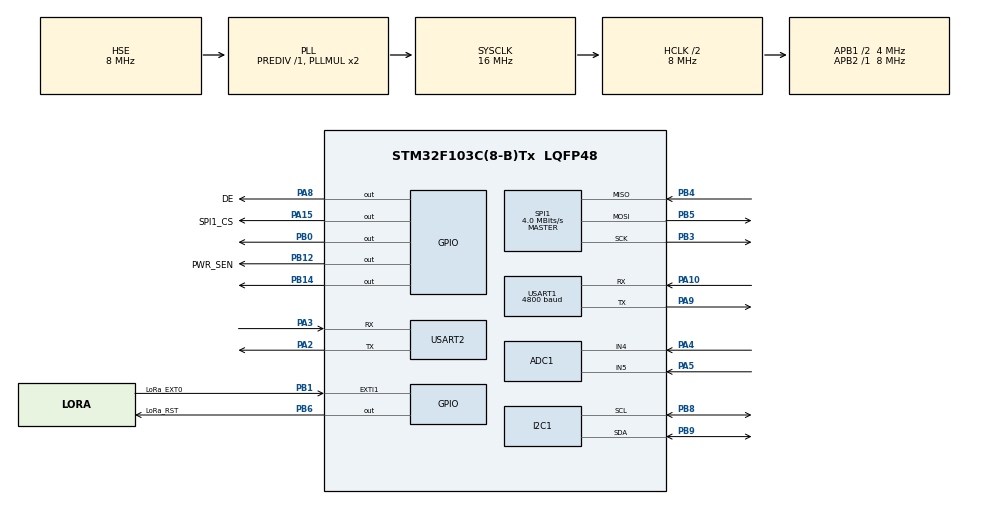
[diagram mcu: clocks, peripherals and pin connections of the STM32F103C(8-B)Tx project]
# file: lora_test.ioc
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ADC1.Channel-0\#ChannelRegularConversion=ADC_CHANNEL_4
ADC1.Channel-1\#ChannelRegularConversion=ADC_CHANNEL_5
ADC1.ContinuousConvMode=ENABLE
ADC1.NbrOfConversion=2
ADC1.NbrOfConversionFlag=1
ADC1.Rank-0\#ChannelRegularConversion=1
ADC1.Rank-1\#ChannelRegularConversion=2
ADC1.SamplingTime-0\#ChannelRegularConversion=ADC_SAMPLETIME_239CYCLES_5
ADC1.SamplingTime-1\#ChannelRegularConversion=ADC_SAMPLETIME_239CYCLES_5
ADC1.master=1
Dma.ADC1.0.Direction=DMA_PERIPH_TO_MEMORY
Dma.ADC1.0.Instance=DMA1_Channel1
Dma.ADC1.0.MemDataAlignment=DMA_MDATAALIGN_HALFWORD
Dma.ADC1.0.MemInc=DMA_MINC_ENABLE
Dma.ADC1.0.Mode=DMA_CIRCULAR
Dma.ADC1.0.PeriphDataAlignment=DMA_PDATAALIGN_HALFWORD
Dma.ADC1.0.PeriphInc=DMA_PINC_DISABLE
Dma.ADC1.0.Priority=DMA_PRIORITY_LOW
Dma.Request0=ADC1
Mcu.Family=STM32F1
Mcu.Name=STM32F103C(8-B)Tx
Mcu.Package=LQFP48
NVIC.DMA1_Channel1_IRQn=true\:0\:0\:false\:false\:true\:false\:true\:true
NVIC.EXTI1_IRQn=true\:0\:0\:false\:false\:true\:true\:true\:true
NVIC.PriorityGroup=NVIC_PRIORITYGROUP_4
NVIC.RTC_IRQn=true\:0\:0\:false\:false\:true\:true\:true\:true
NVIC.USART1_IRQn=true\:0\:0\:false\:false\:true\:true\:true\:true
PA0-WKUP.Mode=SYS_WakeUp0
PA0-WKUP.Signal=SYS_WKUP
PA10.Mode=Asynchronous
PA10.Signal=USART1_RX
PA13.Mode=Serial_Wire
PA13.Signal=SYS_JTMS-SWDIO
PA14.Mode=Serial_Wire
PA14.Signal=SYS_JTCK-SWCLK
PA15.GPIO_Label=SPI1_CS
PA15.GPIO_PuPd=GPIO_PULLUP
PA15.GPIO_Speed=GPIO_SPEED_FREQ_HIGH
PA15.Signal=GPIO_Output
PA2.Mode=Asynchronous
PA2.Signal=USART2_TX
PA3.Mode=Asynchronous
PA3.Signal=USART2_RX
PA4.Signal=ADCx_IN4
PA5.Signal=ADCx_IN5
PA8.GPIO_Label=DE
PA8.Signal=GPIO_Output
PA9.Mode=Asynchronous
PA9.Signal=USART1_TX
PB0.Signal=GPIO_Output
PB1.GPIO_Label=LoRa_EXT0
PB1.GPIO_ModeDefaultEXTI=GPIO_MODE_IT_RISING
PB1.GPIO_PuPd=GPIO_PULLDOWN
PB1.Signal=GPXTI1
PB12.GPIO_Label=PWR_SEN
PB12.Signal=GPIO_Output
PB14.Signal=GPIO_Output
PB3.Mode=Full_Duplex_Master
PB3.Signal=SPI1_SCK
PB4.Mode=Full_Duplex_Master
PB4.Signal=SPI1_MISO
PB5.Mode=Full_Duplex_Master
PB5.Signal=SPI1_MOSI
PB6.GPIO_Label=LoRa_RST
PB6.GPIO_PuPd=GPIO_PULLDOWN
PB6.Signal=GPIO_Output
PB8.Mode=I2C
PB8.Signal=I2C1_SCL
PB9.Mode=I2C
PB9.Signal=I2C1_SDA
PD0-OSC_IN.Mode=HSE-External-Oscillator
PD0-OSC_IN.Signal=RCC_OSC_IN
PD1-OSC_OUT.Mode=HSE-External-Oscillator
PD1-OSC_OUT.Signal=RCC_OSC_OUT
ProjectManager.HeapSize=0x200
ProjectManager.StackSize=0x400
ProjectManager.TargetToolchain=MDK-ARM V5.32
RCC.AHBCLKDivider=RCC_SYSCLK_DIV2
RCC.AHBFreq_Value=8000000
RCC.APB1CLKDivider=RCC_HCLK_DIV2
RCC.APB1Freq_Value=4000000
RCC.APB1TimFreq_Value=8000000
RCC.APB2Freq_Value=8000000
RCC.APB2TimFreq_Value=8000000
RCC.HCLKFreq_Value=8000000
RCC.PLLSourceVirtual=RCC_PLLSOURCE_HSE
RCC.SYSCLKFreq_VALUE=16000000
RCC.SYSCLKSource=RCC_SYSCLKSOURCE_PLLCLK
RCC.USBFreq_Value=16000000
SH.ADCx_IN4.0=ADC1_IN4,IN4
SH.ADCx_IN5.0=ADC1_IN5,IN5
SPI1.BaudRatePrescaler=SPI_BAUDRATEPRESCALER_2
SPI1.CalculateBaudRate=4.0 MBits/s
SPI1.Direction=SPI_DIRECTION_2LINES
SPI1.Mode=SPI_MODE_MASTER
SPI1.VirtualType=VM_MASTER
USART1.BaudRate=4800
USART1.VirtualMode=VM_ASYNC
USART2.VirtualMode=VM_ASYNC
VP_RTC_No_RTC_Output.Mode=RTC_OUT_NO
VP_RTC_VS_RTC_Activate.Mode=RTC_Enabled
VP_RTC_VS_RTC_Calendar.Mode=RTC_Calendar
board=custom

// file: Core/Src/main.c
/* USER CODE BEGIN Header */
/**
  ******************************************************************************
  * @file           : main.c
  * @brief          : Main program body
  ******************************************************************************
  * @attention
  *
  * Copyright (c) 2024 STMicroelectronics.
  * All rights reserved.
  *
  * This software is licensed under terms that can be found in the LICENSE file
  * in the root directory of this software component.
  * If no LICENSE file comes with this software, it is provided AS-IS.
  *
  ******************************************************************************
  */
/* USER CODE END Header */
#include "main.h"
#include "adc.h"
#include "dma.h"
#include "i2c.h"
#include "rtc.h"
#include "spi.h"
#include "usart.h"
#include "gpio.h"

/* USER CODE BEGIN Includes */
#include "stdio.h"
#include "stdbool.h"
#include "stdlib.h"
#include "common.h"
#include "sx1278.h"
#include "string.h"
#include "modbus_crc.h"
#include "flash.h"
#include "aht20.h"

/* USER CODE END Includes */

/* USER CODE BEGIN PTD */
int __io_putchar (int ch)
{
   HAL_UART_Transmit(&huart2, (uint8_t *)&ch, 1, 100);
   return ch;
}

typedef struct LoRa_Link_Struct
{
  uint16_t Node_ID;
  uint16_t Node_Status;
  uint16_t Node_Battery_Voltage;
  uint16_t Node_Period;
} Link_Struct_t;

typedef struct LoRa_Data_Struct
{
  Link_Struct_t Link;
  uint16_t Node_LM35_Temperature;
  uint16_t Node_AHT_Temperature;
  uint16_t Node_AHT_Humidity;
  uint16_t Node_wind_speed;
  uint16_t Node_wind_direction;
  uint16_t Node_wind_level;
  // uint16_t Node_Soil_Temperature;
  // uint16_t Node_Air_Temperature;
  // uint16_t Node_Soil_Humidity;
  // uint16_t Node_Air_Humidity;
  // uint16_t Node_Salinity;
  // uint16_t Node_Conductivity;
  // uint16_t Node_pH;
  // uint16_t Node_N;
  // uint16_t Node_P;
  // uint16_t Node_K;
} Data_Struct_t;

typedef struct LoRa_Packet_ID_0
{
  uint16_t Packet_ID;
  Link_Struct_t Payload;
} Link_Packet_t;

typedef struct LoRa_Packet_ID_1
{
  uint16_t Packet_ID;
  Data_Struct_t Payload;
} Data_Packet_t;

typedef struct LoRa_Packet_ID_2
{
  uint16_t Packet_ID;
  uint16_t Target_Node_ID;

  uint16_t Target_Node_Status;
  uint16_t Target_Node_Period;
  uint16_t Target_Node_Response;
} ResponsePacket_t;

typedef struct WindData
{
  uint16_t rawTemperature;
  float Temperature;

  uint16_t RawSpeed;
	float Speed;
  uint16_t Direction;

  uint16_t windLevel;
} WindData_t;

typedef struct DHT22
{
  float Temperature;
  float Humidity;
  float Fahrenheit;
} DHT22_t;

typedef struct AHT20
{
  float Temperature;
  float Humidity;
  // uint8_t AHT20_RX_Data[6];
  // uint32_t AHT20_ADC_Raw;
} AHT20_t;

typedef enum NodeStatus
{
  WAKEUP_MODE = 1U,
  LINK_MODE = 2U,
  NORMAL_MODE = 4U,
  RECONNECT_MODE = 8U,
  SHUTDOWN_MODE = 16U
} NodeStatus_t;

/* USER CODE END PTD */

/* USER CODE BEGIN PD */

// #define NODE_ID     (0xBAAEU)
// #define NODE_ID     (0xBAADU)
// #define NODE_ID     (0xBAACU)
#define NODE_ID     (0xBAABU)

#define TIMEOUT_MS                  (50U)
#define LINK_PACKET_ID              (0xBBBBU)
#define DATA_PACKET_ID              (0x4A4AU)
#define RESPONSE_PACKET_ID          (0x4444U)

#define SLEEPTIME_NORMAL_MODE_MIN   (5U)
#define SLEEPTIME_NORMAL_MODE_SEC   (300U)
#define SLEEPTIME_LINK_MODE_MIN     (1U)
#define SLEEPTIME_RETRY_MODE_SEC    (15U)

#define READ_SENSORS_DURATION_MS    (4500U)

#define WAIT_RESPONSE_DURATION_MS   (2000U)

#define NODE_WAKEUP_BIT_SHIFT       (0U)
#define NODE_WAKEUP_BIT             (1U << NODE_WAKEUP_BIT_SHIFT)
#define NODE_LINK_MODE_BIT_SHIFT    (1U)
#define NODE_LINK_MODE_BIT          (1U << NODE_LINK_MODE_BIT_SHIFT)
#define NODE_NORMAL_MODE_BIT_SHIFT  (2U)
#define NODE_NORMAL_MODE_BIT        (1U << NODE_NORMAL_MODE_BIT_SHIFT)
#define NODE_RETRY_MODE_BIT_SHIFT   (3U)
#define NODE_RETRY_MODE_BIT         (1U << NODE_RETRY_MODE_BIT_SHIFT)

#define NODE_SHUTDOWN_MODE_BIT_SHIFT   (4U)
#define NODE_SHUTDOWN_MODE_BIT         (1U << NODE_RETRY_MODE_BIT_SHIFT)

#define LINK_ACCEPT   (0xAAU)
#define LINK_REJECT   (0x55U)

#define LINK_CARRYON  (0x00U)
#define LINK_DISMISS  (0xFFU)

#define LINK_ACK      (0xABU)
#define LINK_NACK     (0xBAU)

#define AHT10_ADDRESS_1 (0x38 << 1) // 0b1110000; Adress[7-bit]Wite/Read[1-bit]
#define AHT10_ADDRESS_2 (0x39 << 1) // 0b1110000; Adress[7-bit]Wite/Read[1-bit]

#define SAVE_ADDR     (0x08013030U)

#define SPEED_ADDRESS 		0x01
#define DIRECTION_ADDRESS 0x02

#define DHT22_PORT GPIOB
#define DHT22_PIN GPIO_PIN_8

/* USER CODE END PD */

void SystemClock_Config(void);
/* USER CODE BEGIN PFP */

void read_ADC(void);
void read_wind_sensor(void);
void read_DHT22(void);
void read_AHT20(void);

void going_standby(void);

void Link_Mode_Handle(void);
void Normal_Mode_Handle(void);
void Reconnect_Mode_Handle(void);

void Response_Handle(void);
/* USER CODE END PFP */

/* USER CODE BEGIN 0 */
uint16_t bat = 0, temp35 = 0, test_bat;
double test_bat_f, test_lm;
uint16_t adc[2];

static WindData_t myWind;
static DHT22_t myDHT;
static AHT20_t myAHT;

static NodeStatus_t myStatus;
static uint32_t backupStorage = 0U;
static uint8_t payload[100] = {0};
static volatile bool is_LoRa_EXTI = false;
static volatile bool is_All_Power_OFF = true;
static uint8_t array2store[32] = {0};
static volatile uint8_t nTry = 0;

uint8_t tx[50];
uint8_t uart1_tx_data[8];
uint8_t uart1_tx_set_add[8];
uint8_t uart1_rx_data[15];
uint16_t recv_data[2];
uint8_t a[20];
uint16_t test_speed, test_level, test_di, test_dih;
float test_s;

uint8_t hum1, hum2, tempC1, tempC2, SUM, CHECK;
uint32_t pMillis, cMillis;
float temp_Celsius = 0;
float temp_Fahrenheit = 0;
float humidity = 0;
uint8_t hum_integral, hum_decimal, tempC_integral, tempC_decimal, tempF_integral, tempF_decimal;
char string[15];
uint8_t ver1;
float t, h;

void modbus_tx_data(uint8_t address)
{
	uart1_tx_data[0] = address; // slave address
	uart1_tx_data[1] = 0x03; // Function code for Read Input Registers (0x03)

	// where we want to start reading
	// The Register address will be 00000000 00000000 (40001)
	uart1_tx_data[2] = 0x00;
	uart1_tx_data[3] = 0x00;

	// this 2 byte indicate how many 16-bit register we want to read.
	// we will read 2, 16-bit data register from_
	// 00000000 00000000 to 00000000 00000001 (from 40001 to 40002 according to salve datasheet)
	uart1_tx_data[4] = 0x00;
	uart1_tx_data[5] = 0x02; //Sensor wind speed is 0x01, direction is 0x02

	// CRC Check function
	uint16_t crc = crc16(uart1_tx_data, 6);
	uart1_tx_data[6] = crc & 0xFF; //CRC LOW
	uart1_tx_data[7] = (crc >> 8) & 0xFF; //CRC HIGH

	// set DE,RE pin HIGH to set max485 as transmitter mode
	HAL_GPIO_WritePin(GPIOA, GPIO_PIN_8, GPIO_PIN_SET);
	// sending the uart1_tx_data array
	HAL_UART_Transmit(&huart1, uart1_tx_data, 8, 1000);
	// set DE,RE pin LOW to set max485 as receiver mode
	HAL_GPIO_WritePin(GPIOA, GPIO_PIN_8, GPIO_PIN_RESET);
}
/*
void modbus_tx_data_direction(){
	uart1_tx_data[0] = 0x02; // slave address
	uart1_tx_data[1] = 0x03; // Function code for Read Input Registers (0x03)

	// this 2 byte indicate the first 16-bit register.
	// where we want to start reading
	//The Register address will be 00000000 00000000 (40001)
	uart1_tx_data[2] = 0x00;
	uart1_tx_data[3] = 0x00;

	// this 2 byte indicate how many 16-bit register we want to read.
	// we will read 2, 16-bit data register from_
	// 00000000 00000000 to 00000000 00000001 (from 40001 to 40002 according to salve datasheet)
	uart1_tx_data[4] = 0x00;
	uart1_tx_data[5] = 0x02; //Sensor wind speed is 0x01, direction is 0x02

	// CRC Check function
	uint16_t crc = crc16(uart1_tx_data, 6);
	uart1_tx_data[6] = crc & 0xFF; //CRC LOW
	uart1_tx_data[7] = (crc >> 8) & 0xFF; //CRC HIGH

	// set DE,RE pin HIGH to set max485 as transmitter mode
	HAL_GPIO_WritePin(GPIOA, GPIO_PIN_8, GPIO_PIN_SET);
	// sending the uart1_tx_data array
	HAL_UART_Transmit(&huart1, uart1_tx_data, 8, 1000);
	// set DE,RE pin LOW to set max485 as receiver mode
	HAL_GPIO_WritePin(GPIOA, GPIO_PIN_8, GPIO_PIN_RESET);
}
*/
void modbus_tx_set_address()
{
	uart1_tx_set_add[0] = 0x01; // dia chi hien tai cua wind sensor
	uart1_tx_set_add[1] = 0x06; // Function code for set address Registers (0x03)

	// this 2 byte indicate the first 16-bit register.
	//We want set add, register add will be 07D0
	uart1_tx_set_add[2] = 0x07;
	uart1_tx_set_add[3] = 0xD0;

	// this 2 byte indicate how many 16-bit register we want to read.
	uart1_tx_set_add[4] = 0x00;
	uart1_tx_set_add[5] = 0x02;// set add = 0x02

	// CRC Check function
	uint16_t crc = crc16(uart1_tx_set_add, 6);
	uart1_tx_set_add[6] = crc & 0xFF; //CRC LOW
	uart1_tx_set_add[7] = (crc >> 8) & 0xFF; //CRC HIGH

	// set DE,RE pin HIGH to set max485 as transmitter mode
	HAL_GPIO_WritePin(GPIOA, GPIO_PIN_8, GPIO_PIN_SET);
	// sending the uart1_tx_set_add
	HAL_UART_Transmit(&huart1, uart1_tx_set_add, 8, 1000);
	// set DE,RE pin LOW to set max485 as receiver mode
	HAL_GPIO_WritePin(GPIOA, GPIO_PIN_8, GPIO_PIN_RESET);
}
/* USER CODE END 0 */

int main(void)
{

  /* MCU Configuration--------------------------------------------------------*/

  /* Reset of all peripherals, Initializes the Flash interface and the Systick. */
  HAL_Init();

  /* Configure the system clock */
  SystemClock_Config();

  /* Initialize all configured peripherals */
  MX_GPIO_Init();
  MX_DMA_Init();
  MX_SPI1_Init();
  MX_USART1_UART_Init();
  MX_ADC1_Init();
 // MX_I2C1_Init();
  MX_RTC_Init();
  MX_USART2_UART_Init();
  /* USER CODE BEGIN 2 */
//	HAL_GPIO_WritePin(GPIOC, GPIO_PIN_13, GPIO_PIN_SET);
  HAL_GPIO_WritePin(GPIOB, GPIO_PIN_0, GPIO_PIN_SET);
	sx1278_init();
	HAL_Delay(100);
	HAL_UARTEx_ReceiveToIdle_IT(&huart1, uart1_rx_data, 15); // delay 3.5s sau khi on moi read duoc
	HAL_Delay(50);

  myStatus = HAL_RTCEx_BKUPRead(&hrtc, RTC_BKP_DR2);

  if (myStatus == 0U)
  {
    HAL_RTCEx_BKUPWrite(&hrtc, RTC_BKP_DR3, SLEEPTIME_NORMAL_MODE_MIN * 60);
    myStatus = LINK_MODE;
  }

  if ((myStatus & LINK_MODE) != 0U)
  {
    Link_Mode_Handle();
  }
  else if ((myStatus & NORMAL_MODE) != 0U)
      {
        Normal_Mode_Handle();
      }
      else if ((myStatus & RECONNECT_MODE) != 0U)
        {
          Reconnect_Mode_Handle();
        }

  while (HAL_RTCEx_BKUPRead(&hrtc, RTC_BKP_DR2) != myStatus)  HAL_RTCEx_BKUPWrite(&hrtc, RTC_BKP_DR2, myStatus);

//	HAL_GPIO_TogglePin(GPIOC, GPIO_PIN_13);
//	HAL_Delay(200);
//	HAL_GPIO_TogglePin(GPIOC, GPIO_PIN_13);

  going_standby();

  /* USER CODE END 2 */

  /* Infinite loop */
  while (1)
  {

    /* USER CODE BEGIN 3 */
//		read_wind_sensor();
	read_AHT20();
	read_ADC();
/*  MX_SPI1_Init();
  HAL_Delay(100);
  sx1278_init();
	sprintf((char*) tx, "BAT la %d", test_bat);
	sx1278_send_data(tx, sizeof(tx));
	HAL_SPI_DeInit(&hspi1);
*/HAL_Delay(1000);
	HAL_GPIO_TogglePin(GPIOC, GPIO_PIN_13);

  }
  /* USER CODE END 3 */
}

void SystemClock_Config(void)
{
  RCC_OscInitTypeDef RCC_OscInitStruct = {0};
  RCC_ClkInitTypeDef RCC_ClkInitStruct = {0};
  RCC_PeriphCLKInitTypeDef PeriphClkInit = {0};

  /** Initializes the RCC Oscillators according to the specified parameters
  * in the RCC_OscInitTypeDef structure.
  */
  RCC_OscInitStruct.OscillatorType = RCC_OSCILLATORTYPE_LSI|RCC_OSCILLATORTYPE_HSE;
  RCC_OscInitStruct.HSEState = RCC_HSE_ON;
  RCC_OscInitStruct.HSEPredivValue = RCC_HSE_PREDIV_DIV1;
  RCC_OscInitStruct.HSIState = RCC_HSI_ON;
  RCC_OscInitStruct.LSIState = RCC_LSI_ON;
  RCC_OscInitStruct.PLL.PLLState = RCC_PLL_ON;
  RCC_OscInitStruct.PLL.PLLSource = RCC_PLLSOURCE_HSE;
  RCC_OscInitStruct.PLL.PLLMUL = RCC_PLL_MUL2;
  if (HAL_RCC_OscConfig(&RCC_OscInitStruct) != HAL_OK)
  {
    Error_Handler();
  }

  /** Initializes the CPU, AHB and APB buses clocks
  */
  RCC_ClkInitStruct.ClockType = RCC_CLOCKTYPE_HCLK|RCC_CLOCKTYPE_SYSCLK
                              |RCC_CLOCKTYPE_PCLK1|RCC_CLOCKTYPE_PCLK2;
  RCC_ClkInitStruct.SYSCLKSource = RCC_SYSCLKSOURCE_PLLCLK;
  RCC_ClkInitStruct.AHBCLKDivider = RCC_SYSCLK_DIV2;
  RCC_ClkInitStruct.APB1CLKDivider = RCC_HCLK_DIV2;
  RCC_ClkInitStruct.APB2CLKDivider = RCC_HCLK_DIV1;

  if (HAL_RCC_ClockConfig(&RCC_ClkInitStruct, FLASH_LATENCY_0) != HAL_OK)
  {
    Error_Handler();
  }
  PeriphClkInit.PeriphClockSelection = RCC_PERIPHCLK_RTC|RCC_PERIPHCLK_ADC;
  PeriphClkInit.RTCClockSelection = RCC_RTCCLKSOURCE_LSI;
  PeriphClkInit.AdcClockSelection = RCC_ADCPCLK2_DIV2;
  if (HAL_RCCEx_PeriphCLKConfig(&PeriphClkInit) != HAL_OK)
  {
    Error_Handler();
  }
}

/* USER CODE BEGIN 4 */

void HAL_UARTEx_RxEventCallback(UART_HandleTypeDef *huart, uint16_t Size)
{
	recv_data[0] = uart1_rx_data[3]<<8 | uart1_rx_data[4];
	recv_data[1] = uart1_rx_data[5]<<8 | uart1_rx_data[6];

	HAL_UARTEx_ReceiveToIdle_IT(&huart1, uart1_rx_data, 15);
}

void read_ADC(void)
{
		HAL_ADC_Start_DMA(&hadc1,(uint32_t*) adc, 2);
    bat = 0;
    temp35 = 0;
		HAL_Delay(30);
		for(uint8_t i =0; i<15; i++)
		{
			bat += adc[0];
			temp35 += adc[1];
			HAL_Delay(1);
		}

		bat = bat/15;
		test_bat_f =(double)((double)bat * 3.3 * 4.9 / 4095.0) + 0.57;// - 0.22656;
		temp35 = temp35 / 15;
    myWind.rawTemperature = temp35;
    myWind.Temperature = (float)((float)temp35 * 11.0 * 17.0 /4095.0 + 2.0); // node 2: + 3.2
	  test_lm = (float) myWind.Temperature;
		HAL_ADC_Stop_DMA(&hadc1);
}

void read_wind_sensor (void)
{
	HAL_GPIO_WritePin(PWR_SEN_GPIO_Port, PWR_SEN_Pin, 1);
  HAL_Delay(3350);

	modbus_tx_data(SPEED_ADDRESS);
  HAL_Delay(50);
  myWind.RawSpeed = recv_data[0];
//	test_speed = recv_data[0];
//	test_s  = (float)((float)test_speed/10.0);
  myWind.Speed = (float)((float)myWind.RawSpeed / 10.0);
//	if (myWind.Speed > 1.3)	myWind.Speed = (float)(myWind.Speed - 0.2 - 0.16 * myWind.Speed);

	if      (myWind.Speed < 0.3)	  														myWind.windLevel = 0x0000;
  else if ((myWind.Speed >= 0.3) && (myWind.Speed <= 1.5))	  myWind.windLevel = 0x0001;
  else if ((myWind.Speed >= 1.6) && (myWind.Speed <= 3.3))	  myWind.windLevel = 0x0002;
  else if ((myWind.Speed >= 3.4) && (myWind.Speed <= 5.4))	  myWind.windLevel = 0x0003;
  else if ((myWind.Speed >= 5.5) && (myWind.Speed <= 7.9))	  myWind.windLevel = 0x0004;
  else if ((myWind.Speed >= 8.0) && (myWind.Speed <= 10.7))	  myWind.windLevel = 0x0005;
  else if ((myWind.Speed >= 10.8) && (myWind.Speed <= 13.8))	myWind.windLevel = 0x0006;
  else if ((myWind.Speed >= 13.9) && (myWind.Speed <= 17.1))	myWind.windLevel = 0x0007;
  else if ((myWind.Speed >= 17.2) && (myWind.Speed <= 20.7))	myWind.windLevel = 0x0008;
  else if ((myWind.Speed >= 20.8) && (myWind.Speed <= 24.4))	myWind.windLevel = 0x0009;
  else if ((myWind.Speed >= 24.5) && (myWind.Speed <= 28.4))	myWind.windLevel = 0x000A;
  else if ((myWind.Speed >= 28.5) && (myWind.Speed <= 32.6))	myWind.windLevel = 0x000B;
  else if (myWind.Speed >= 32.7)	                            myWind.windLevel = 0x000C;
//	test_level = recv_data[1];

  modbus_tx_data(DIRECTION_ADDRESS);
  HAL_Delay(50);
  myWind.Direction = recv_data[0];
//	test_di = recv_data[1];
//	test_dih = recv_data[0];

  HAL_GPIO_WritePin(PWR_SEN_GPIO_Port, PWR_SEN_Pin, 0);
}

void read_AHT20(void)
{
		MX_I2C1_Init();
    HAL_Delay(100);
		AHT20_init();
		AHT20_read(&t, &h);
    myAHT.Temperature = t;
	myAHT.Humidity = h - 7; // node 2: -2 va -5.8 = calib, node 1: -12.3 = calib
		HAL_I2C_DeInit(&hi2c1);
}

void going_standby(void)
{
  /* Enable WUPIN PA0: HAL_PWR_EnableWakeUpPin(PWR_WAKEUP_PIN1) */
  SET_BIT(PWR->CSR, PWR_CSR_EWUP);

  /* Set RTC Alarm for 300s */
  RTC_TimeTypeDef timeNow;
  RTC_AlarmTypeDef timeAlarm;
  HAL_RTC_GetTime(&hrtc, &timeNow, RTC_FORMAT_BCD);
  timeAlarm.Alarm = RTC_ALARM_A;
  timeAlarm.AlarmTime = timeNow; // luu thoi gian hien tai
  if (myStatus == NORMAL_MODE)
  {
		//timeAlarm.AlarmTime.Seconds += 5;
    timeAlarm.AlarmTime.Minutes += SLEEPTIME_NORMAL_MODE_MIN; // + thoi gian cua chu ky
	}
  else if (myStatus == LINK_MODE)
      {
				//timeAlarm.AlarmTime.Seconds += 5;
        timeAlarm.AlarmTime.Minutes += SLEEPTIME_LINK_MODE_MIN;
      }
      else if (myStatus == RECONNECT_MODE)
          {
            timeAlarm.AlarmTime.Seconds += SLEEPTIME_RETRY_MODE_SEC;
          }

  __HAL_RTC_ALARM_CLEAR_FLAG(&hrtc, RTC_FLAG_ALRAF);
  HAL_RTC_SetAlarm_IT(&hrtc, &timeAlarm, RTC_FORMAT_BCD); // enable interrupt

  //STANDBY mode
  /* Set SLEEPDEEP bit of Cortex System Control Register */
  SET_BIT(SCB->SCR, ((uint32_t)SCB_SCR_SLEEPDEEP_Msk));

  /* Select Standby mode */
  SET_BIT(PWR->CR, PWR_CR_PDDS);

  /* Clear WUF bit in Power Control/Status register */
  SET_BIT(PWR->CR, PWR_CR_CWUF); /*!< Clear Wakeup Flag */

  /* Clear SBF bit in Power Control/Status register */
  SET_BIT(PWR->CR, PWR_CR_CSBF); /*!< Clear Standby Flag */

  (void)PWR->CR;
  (void)PWR->CSR;

  // Disable debug, trace and IWDG in low-power modes
  DBGMCU->CR = (uint32_t)0x00;

// #if DEBUG == 1
//   logPC("Bravo 6\nGoing Dark\n");
// #endif /* DEBUG == 1 */

  for (;;)
  {
    __DSB();
    __WFI(); // Wait for interrupt
  }
}
//kiem tra xem truyen thong duoc khong
bool is_OK_2_Talk(void)
{
  sx1278_standby();
  uint32_t checkTimeout = HAL_GetTick();
  uint8_t irq = sx1278_read_reg(REG_IRQ_FLAGS);
  sx1278_write_reg(REG_IRQ_FLAGS, irq);     //reset irq
  is_LoRa_EXTI = false;
  sx1278_cad();
  while ((is_LoRa_EXTI == false) && ((HAL_GetTick() - checkTimeout) < TIMEOUT_MS));
  if (is_LoRa_EXTI == false) return false;
  irq = sx1278_read_reg(REG_IRQ_FLAGS);
  sx1278_write_reg(REG_IRQ_FLAGS, irq);     //reset irq
  sx1278_standby();
  if (((irq & 0x01U) != 0U) && ((irq & 0x04U) != 0U))
  {
    return false;
  }
  else if (((irq & 0x01U) == 0U) && ((irq & 0x04U) != 0U))
      {
        return true;
      }
  return false;
}

void Link_Mode_Handle(void)
{
  read_ADC();
	HAL_Delay(5);

  MX_SPI1_Init();
  HAL_Delay(100);
  sx1278_init();

  Link_Packet_t LinkReq;
  LinkReq.Packet_ID = LINK_PACKET_ID;
  LinkReq.Payload.Node_ID = NODE_ID;
  LinkReq.Payload.Node_Status = myStatus;
  LinkReq.Payload.Node_Battery_Voltage = (uint16_t)(test_bat_f * 100.0); // 100 x Bat_voltage
  LinkReq.Payload.Node_Period = (uint16_t) (HAL_RTCEx_BKUPRead(&hrtc, RTC_BKP_DR3));
  memcpy((uint8_t*)&payload, (uint8_t*)&LinkReq, sizeof(Link_Packet_t));

  nTry = 0;
  while ((is_OK_2_Talk() == false) && (nTry < 10))
  {
    nTry++;
    HAL_Delay(110);
    // HAL_Delay(get_random_value(backupStorage, 50, 200));
  }

  if (nTry == 10)
  {
    myStatus = LINK_MODE;
    HAL_SPI_DeInit(&hspi1);
    return;
  }

  sx1278_send_data((uint8_t *)&payload, sizeof(Link_Packet_t));

  Response_Handle();

  sx1278_sleep();
  HAL_SPI_DeInit(&hspi1);
}

void Normal_Mode_Handle(void)
{
  read_ADC();
	HAL_Delay(5);
  read_wind_sensor();
//	HAL_Delay(50);
  read_AHT20();

//	HAL_Delay(50);
  MX_SPI1_Init();
  HAL_Delay(100);
  sx1278_init();

  Data_Packet_t data_packet;
  data_packet.Packet_ID = DATA_PACKET_ID;
  data_packet.Payload.Link.Node_ID = NODE_ID;
  data_packet.Payload.Link.Node_Status = myStatus;
  data_packet.Payload.Link.Node_Battery_Voltage = (uint16_t)(test_bat_f * 100.0); // 100 x Bat_voltage
  data_packet.Payload.Link.Node_Period      = (uint16_t)(HAL_RTCEx_BKUPRead(&hrtc, RTC_BKP_DR3));

  data_packet.Payload.Node_LM35_Temperature = (uint16_t)(myWind.Temperature * 10); // 10 x temp_lm35
  data_packet.Payload.Node_AHT_Temperature  = (uint16_t)(myAHT.Temperature * 10);  // 10 x temp_aht
  data_packet.Payload.Node_AHT_Humidity     = (uint16_t)(myAHT.Humidity * 10);     // 10 x humid_aht
  data_packet.Payload.Node_wind_speed       = (uint16_t)(myWind.Speed * 10);       // 10 x wind speed
  data_packet.Payload.Node_wind_direction   = myWind.Direction;                    // direction type uint16
  data_packet.Payload.Node_wind_level       = myWind.windLevel;                    // direction type uint16
  memset(payload, '\0', sizeof(payload));
  memcpy((uint8_t *)payload, (uint8_t *)&data_packet, sizeof(Data_Packet_t));

  nTry = 0;
  while ((is_OK_2_Talk() == false) && (nTry < 10))
  {
    nTry++;
    HAL_Delay(150);
    // HAL_Delay(get_random_value(backupStorage, 50, 200));
  }
  if (nTry == 10)
  {
    myStatus = RECONNECT_MODE;
    HAL_SPI_DeInit(&hspi1);
    // HAL_GPIO_WritePin(PWR_SUB_GPIO_Port, PWR_SUB_Pin, GPIO_PIN_RESET);
    // HAL_GPIO_WritePin(LED0_GPIO_Port, LED0_Pin, GPIO_PIN_SET);
    return;
  }

  sx1278_send_data(payload, sizeof(Data_Packet_t));
  Response_Handle();

  if (myStatus == RECONNECT_MODE)
  {
    memset(array2store, '\0', sizeof(array2store));
    memcpy((uint8_t *)&array2store, (uint8_t *)&data_packet, sizeof(Data_Packet_t)); // save value measured
    Flash_Write_Data(SAVE_ADDR, (uint32_t*)&array2store, 8U);
    HAL_Delay(300);
  }

  sx1278_sleep();
  HAL_SPI_DeInit(&hspi1);
}

void Reconnect_Mode_Handle(void)
{
  Flash_Read_Data(SAVE_ADDR, (uint32_t *)&array2store, sizeof(array2store));
  array2store[4] = RECONNECT_MODE;
  memcpy((uint8_t *)payload, (uint8_t *)&array2store, sizeof(Data_Packet_t));

  MX_SPI1_Init();
  HAL_Delay(100);
  sx1278_init();

  nTry = 0;
  while ((is_OK_2_Talk() == false) && (nTry < 10))
  {
    nTry++;
    HAL_Delay(150);
    // HAL_Delay(get_random_value(backupStorage, 50, 200));
  }
  if (nTry == 10)
  {
    myStatus = RECONNECT_MODE;
    HAL_SPI_DeInit(&hspi1);
    return;
  }

  sx1278_send_data(payload, sizeof(Data_Packet_t));

  Response_Handle();

  sx1278_sleep();
  HAL_SPI_DeInit(&hspi1);
}

void Response_Handle(void)
{
  static ResponsePacket_t resp;
  static uint8_t data[100] = {0};
  static uint32_t nByteRx = 0;
  static int rssi = -1;
  static float snr = -1;

  is_LoRa_EXTI = false;
  sx1278_start_recv_data();

  uint32_t timeOut = HAL_GetTick();
  while ((HAL_GetTick() - timeOut) < 5000U)
  {
    if (is_LoRa_EXTI == true)
    {
      if (sx1278_recv_data((uint8_t *)data, &nByteRx, &rssi, &snr, false) == SX1278_OK)
      {
        if (nByteRx == sizeof(ResponsePacket_t))  memcpy(&resp, &data, sizeof(ResponsePacket_t));
        else
        {
          is_LoRa_EXTI = false;
          sx1278_set_irq(0x00);
          sx1278_write_reg(REG_IRQ_FLAGS, sx1278_read_reg(REG_IRQ_FLAGS));
          continue;
        }

        if ((resp.Packet_ID != RESPONSE_PACKET_ID) || (resp.Target_Node_ID != NODE_ID))
        {
          // this is not what I want OR this is not for me
          is_LoRa_EXTI = false;
          sx1278_start_recv_data();
          continue;
        }
        else
        {
          // Yep ok this is my packet and ID
          if (myStatus == LINK_MODE)
          {
            if ((resp.Target_Node_Response & 0x00FF) != LINK_ACK) {myStatus = LINK_MODE; return;}
            if      (((resp.Target_Node_Response >> 8) & 0x00FF) == LINK_ACCEPT)    myStatus = NORMAL_MODE;
            else if (((resp.Target_Node_Response >> 8) & 0x00FF) == LINK_REJECT)    myStatus = (uint8_t)resp.Target_Node_Status;
          }
          else if (myStatus == NORMAL_MODE)
              {
                if ((resp.Target_Node_Response & 0x00FF) != LINK_ACK) {myStatus = RECONNECT_MODE; return;}
                if      (((resp.Target_Node_Response >> 8) & 0x00FF) == LINK_CARRYON)   myStatus = (uint8_t)resp.Target_Node_Status;
                else if (((resp.Target_Node_Response >> 8) & 0x00FF) == LINK_DISMISS)   myStatus = LINK_MODE;
              }
              else if (myStatus == RECONNECT_MODE)
              {
                if      ((resp.Target_Node_Response & 0x00FF) != LINK_ACK) {myStatus = RECONNECT_MODE;  return;}
                else if ((resp.Target_Node_Response & 0x00FF) == LINK_ACK) {myStatus = NORMAL_MODE;}
                if      (((resp.Target_Node_Response >> 8) & 0x00FF) == LINK_CARRYON)   myStatus = (uint8_t)resp.Target_Node_Status;
                else if (((resp.Target_Node_Response >> 8) & 0x00FF) == LINK_DISMISS)   myStatus = LINK_MODE;
              }
          HAL_RTCEx_BKUPWrite(&hrtc, RTC_BKP_DR3, resp.Target_Node_Period);
          return;
        }
      }
      else
      {
        is_LoRa_EXTI = false;
        sx1278_set_irq(0x00);
        sx1278_write_reg(REG_IRQ_FLAGS, sx1278_read_reg(REG_IRQ_FLAGS));
        continue;
      }
    }
  }

  if (myStatus == LINK_MODE)
  {
    myStatus = LINK_MODE;
  }
  else if (myStatus == NORMAL_MODE)
      {
        myStatus = RECONNECT_MODE;
      }
      else if (myStatus == RECONNECT_MODE)
          {
            myStatus = RECONNECT_MODE;
          }
}

void HAL_GPIO_EXTI_Callback(uint16_t GPIO_Pin)
{
  if ((GPIO_Pin == LoRa_EXT0_Pin) && (HAL_GPIO_ReadPin(LoRa_EXT0_GPIO_Port, LoRa_EXT0_Pin) == GPIO_PIN_SET) && (is_LoRa_EXTI == false))
  {
    is_LoRa_EXTI = true;
//		HAL_GPIO_TogglePin(GPIOC, GPIO_PIN_13);
  }
}

void HAL_RTCEx_RTCEventCallback(RTC_HandleTypeDef *hrtc)
{
  HAL_NVIC_SystemReset();
}

/* USER CODE END 4 */

void Error_Handler(void)
{
  __disable_irq();
  while (1)
  {
  }
}
